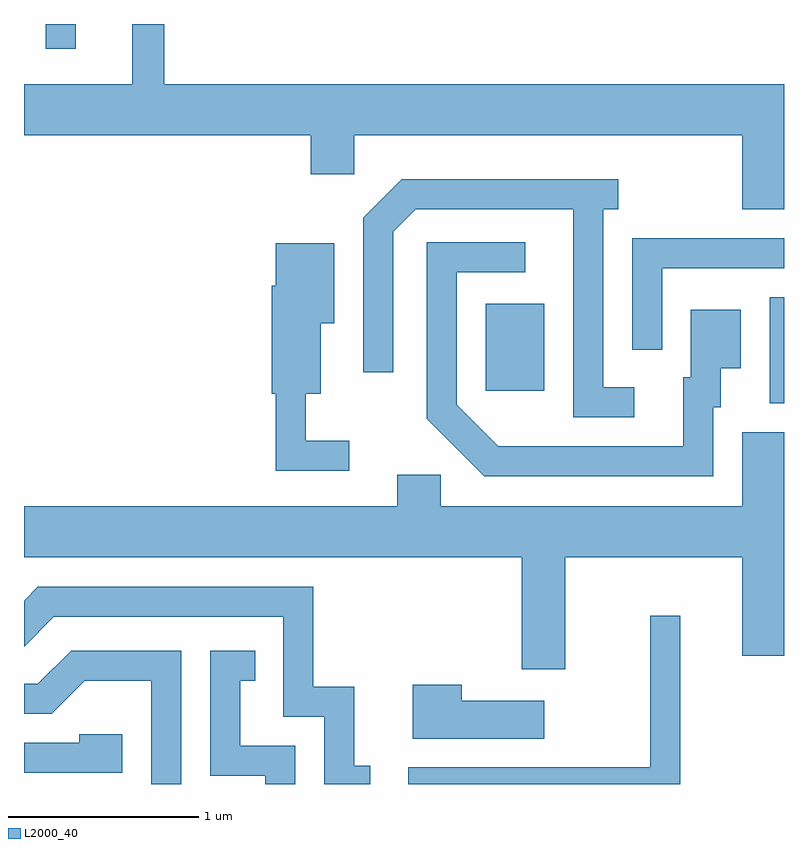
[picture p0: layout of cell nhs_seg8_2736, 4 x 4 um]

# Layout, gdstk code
import gdstk
lib = gdstk.Library(unit=1e-6, precision=1e-09)
def R(c, l, rs):  # rectangles x0, y0, x1, y1
    for r in rs: c.add(gdstk.rectangle(r[:2], r[2:], *l))
def P(c, l, *ps):  # polygons
    for p in ps: c.add(gdstk.Polygon(p, *l))
L2000_40 = (2000, 40)

nhs_seg8_2736 = lib.new_cell('nhs_seg8_2736')
R(nhs_seg8_2736, L2000_40, [(271.536,1828.346,271.611,1828.904), (270.041,1828.411,270.349,1828.869), (267.726,1830.213,267.884,1830.342)])
P(nhs_seg8_2736, L2000_40, [(271.611,1830.024),(268.349,1830.024),(268.349,1830.342),(268.181,1830.342),(268.181,1830.024),(267.611,1830.024),(267.611,1829.756),(269.121,1829.756),(269.121,1829.551),(269.349,1829.551),(269.349,1829.756),(271.391,1829.756),(271.391,1829.366),(271.611,1829.366)],
  [(270.823,1828.429),(270.659,1828.429),(270.659,1829.366),(270.738,1829.366),(270.738,1829.524),(269.599,1829.524),(269.396,1829.322),(269.396,1828.508),(269.554,1828.508),(269.554,1829.249),(269.672,1829.366),(270.501,1829.366),(270.501,1828.271),(270.823,1828.271)],
  [(270.969,1829.056),(271.611,1829.056),(271.611,1829.214),(270.811,1829.214),(270.811,1828.628),(270.969,1828.628)],
  [(271.239,1828.326),(271.279,1828.326),(271.279,1828.531),(271.384,1828.531),(271.384,1828.839),(271.121,1828.839),(271.121,1828.484),(271.081,1828.484),(271.081,1828.119),(270.107,1828.119),(269.889,1828.337),(269.889,1829.036),(270.248,1829.036),(270.248,1829.194),(269.731,1829.194),(269.731,1828.264),(270.034,1827.961),(271.239,1827.961)],
  [(269.323,1828.149),(269.094,1828.149),(269.094,1828.396),(269.174,1828.396),(269.174,1828.766),(269.244,1828.766),(269.244,1829.189),(268.936,1829.189),(268.936,1828.964),(268.916,1828.964),(268.916,1828.396),(268.936,1828.396),(268.936,1827.991),(269.323,1827.991)],
  [(270.459,1827.536),(271.391,1827.536),(271.391,1827.016),(271.611,1827.016),(271.611,1828.194),(271.391,1828.194),(271.391,1827.804),(269.804,1827.804),(269.804,1827.969),(269.576,1827.969),(269.576,1827.804),(267.611,1827.804),(267.611,1827.536),(270.231,1827.536),(270.231,1826.946),(270.459,1826.946)],
  [(269.433,1826.439),(269.349,1826.439),(269.349,1826.854),(269.134,1826.854),(269.134,1827.379),(267.684,1827.379),(267.611,1827.306),(267.611,1827.065),(267.767,1827.221),(268.976,1827.221),(268.976,1826.696),(269.191,1826.696),(269.191,1826.342),(269.433,1826.342)],
  [(271.064,1827.228),(270.906,1827.228),(270.906,1826.429),(269.633,1826.429),(269.633,1826.342),(271.064,1826.342)],
  [(268.439,1827.044),(267.859,1827.044),(267.684,1826.869),(267.611,1826.869),(267.611,1826.711),(267.757,1826.711),(267.932,1826.886),(268.281,1826.886),(268.281,1826.342),(268.439,1826.342)],
  [(269.039,1826.544),(268.749,1826.544),(268.749,1826.886),(268.828,1826.886),(268.828,1827.044),(268.591,1827.044),(268.591,1826.386),(268.881,1826.386),(268.881,1826.342),(269.039,1826.342)],
  [(270.349,1826.779),(269.914,1826.779),(269.914,1826.864),(269.656,1826.864),(269.656,1826.581),(270.349,1826.581)],
  [(268.129,1826.604),(267.901,1826.604),(267.901,1826.559),(267.611,1826.559),(267.611,1826.401),(268.129,1826.401)])

lib.write_gds('nhs_seg8_2736.gds')
